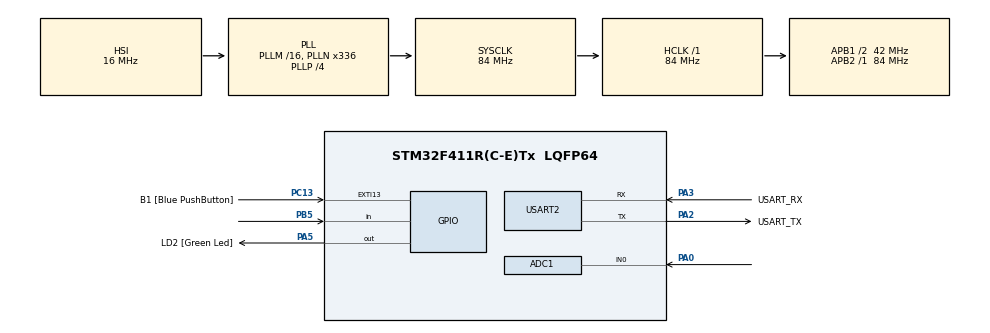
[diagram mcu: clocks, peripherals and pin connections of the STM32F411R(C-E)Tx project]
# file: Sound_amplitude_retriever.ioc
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ADC1.Channel-1\#ChannelRegularConversion=ADC_CHANNEL_0
ADC1.NbrOfConversionFlag=1
ADC1.Rank-1\#ChannelRegularConversion=1
ADC1.SamplingTime-1\#ChannelRegularConversion=ADC_SAMPLETIME_3CYCLES
ADC1.master=1
Mcu.Family=STM32F4
Mcu.Name=STM32F411R(C-E)Tx
Mcu.Package=LQFP64
NVIC.PriorityGroup=NVIC_PRIORITYGROUP_0
PA0-WKUP.Signal=ADCx_IN0
PA13.GPIO_Label=TMS
PA13.Mode=Serial_Wire
PA13.Signal=SYS_JTMS-SWDIO
PA14.GPIO_Label=TCK
PA14.Mode=Serial_Wire
PA14.Signal=SYS_JTCK-SWCLK
PA2.GPIO_Label=USART_TX
PA2.Mode=Asynchronous
PA2.Signal=USART2_TX
PA3.GPIO_Label=USART_RX
PA3.Mode=Asynchronous
PA3.Signal=USART2_RX
PA5.GPIO_Label=LD2 [Green Led]
PA5.Signal=GPIO_Output
PB3.GPIO_Label=SWO
PB3.Signal=SYS_JTDO-SWO
PB5.Signal=GPIO_Input
PC13-ANTI_TAMP.GPIO_Label=B1 [Blue PushButton]
PC13-ANTI_TAMP.GPIO_ModeDefaultEXTI=GPIO_MODE_IT_FALLING
PC13-ANTI_TAMP.Signal=GPXTI13
PC14-OSC32_IN.Mode=LSE-External-Oscillator
PC14-OSC32_IN.Signal=RCC_OSC32_IN
PC15-OSC32_OUT.Mode=LSE-External-Oscillator
PC15-OSC32_OUT.Signal=RCC_OSC32_OUT
PH0\ -\ OSC_IN.Mode=HSE-External-Clock-Source
PH0\ -\ OSC_IN.Signal=RCC_OSC_IN
PH1\ -\ OSC_OUT.Mode=HSE-External-Clock-Source
PH1\ -\ OSC_OUT.Signal=RCC_OSC_OUT
ProjectManager.HeapSize=0x200
ProjectManager.StackSize=0x400
ProjectManager.TargetToolchain=STM32CubeIDE
RCC.48MHZClocksFreq_Value=84000000
RCC.AHBFreq_Value=84000000
RCC.APB1CLKDivider=RCC_HCLK_DIV2
RCC.APB1Freq_Value=42000000
RCC.APB1TimFreq_Value=84000000
RCC.APB2Freq_Value=84000000
RCC.APB2TimFreq_Value=84000000
RCC.CortexFreq_Value=84000000
RCC.FLatency-AdvancedSettings=FLASH_LATENCY_2
RCC.HCLKFreq_Value=84000000
RCC.HSE_VALUE=8000000
RCC.HSI_VALUE=16000000
RCC.PLLN=336
RCC.PLLP=RCC_PLLP_DIV4
RCC.SYSCLKFreq_VALUE=84000000
RCC.SYSCLKSource=RCC_SYSCLKSOURCE_PLLCLK
RCC.VCOOutputFreq_Value=336000000
SH.ADCx_IN0.0=ADC1_IN0,IN0
USART2.VirtualMode=VM_ASYNC
board=NUCLEO-F411RE

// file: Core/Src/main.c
/* USER CODE BEGIN Header */
/**
  ******************************************************************************
  * @file           : main.c
  * @brief          : Main program body
  ******************************************************************************
  * @attention
  *
  * Copyright (c) 2025 STMicroelectronics.
  * All rights reserved.
  *
  * This software is licensed under terms that can be found in the LICENSE file
  * in the root directory of this software component.
  * If no LICENSE file comes with this software, it is provided AS-IS.
  *
  ******************************************************************************
  */
/* USER CODE END Header */
#include "main.h"

ADC_HandleTypeDef hadc1;

UART_HandleTypeDef huart2;

void SystemClock_Config(void);
static void MX_GPIO_Init(void);
static void MX_USART2_UART_Init(void);
static void MX_ADC1_Init(void);

int main(void)
{

  /* MCU Configuration--------------------------------------------------------*/

  /* Reset of all peripherals, Initializes the Flash interface and the Systick. */
  HAL_Init();

  /* Configure the system clock */
  SystemClock_Config();

  /* Initialize all configured peripherals */
  MX_GPIO_Init();
  MX_USART2_UART_Init();
  MX_ADC1_Init();
  /* USER CODE BEGIN 2 */
  char uart_buf[50];
  uint32_t AMP_THRESHOLD = 80;
  uint32_t SAMP_WIDTH = 50;
  /* USER CODE END 2 */

  /* Infinite loop */
  while (1)
  {

    /* USER CODE BEGIN 3 */
	  uint32_t signal_max = 0;
	  uint32_t signal_min = 4095;
	  uint32_t sample = 0;
	  uint32_t start_time = HAL_GetTick();

	  //sampling for SAMP_WIDTH
	  while ((HAL_GetTick() - start_time) < SAMP_WIDTH)
	  {
	      HAL_ADC_Start(&hadc1);
	      if (HAL_ADC_PollForConversion(&hadc1, 1) == HAL_OK)
	      {
	          sample = HAL_ADC_GetValue(&hadc1);
	          HAL_ADC_Stop(&hadc1);

	          if (sample > signal_max) signal_max = sample;
	          if (sample < signal_min) signal_min = sample;
	      }
	  }

	  uint32_t amplitude = signal_max - signal_min;

	  //print if the amplitude is over 80
	  if (amplitude > AMP_THRESHOLD)
	  {
	      sprintf(uart_buf, "Loudness: %lu | Max: %lu | Min: %lu\r\n", amplitude, signal_max, signal_min);
	      HAL_UART_Transmit(&huart2, (uint8_t*)uart_buf, strlen(uart_buf), 100);
	  }

	  // Short rest before next measurement
	  HAL_Delay(10);
  }
  /* USER CODE END 3 */
}

void SystemClock_Config(void)
{
  RCC_OscInitTypeDef RCC_OscInitStruct = {0};
  RCC_ClkInitTypeDef RCC_ClkInitStruct = {0};

  /** Configure the main internal regulator output voltage
  */
  __HAL_RCC_PWR_CLK_ENABLE();
  __HAL_PWR_VOLTAGESCALING_CONFIG(PWR_REGULATOR_VOLTAGE_SCALE1);

  /** Initializes the RCC Oscillators according to the specified parameters
  * in the RCC_OscInitTypeDef structure.
  */
  RCC_OscInitStruct.OscillatorType = RCC_OSCILLATORTYPE_HSI;
  RCC_OscInitStruct.HSIState = RCC_HSI_ON;
  RCC_OscInitStruct.HSICalibrationValue = RCC_HSICALIBRATION_DEFAULT;
  RCC_OscInitStruct.PLL.PLLState = RCC_PLL_ON;
  RCC_OscInitStruct.PLL.PLLSource = RCC_PLLSOURCE_HSI;
  RCC_OscInitStruct.PLL.PLLM = 16;
  RCC_OscInitStruct.PLL.PLLN = 336;
  RCC_OscInitStruct.PLL.PLLP = RCC_PLLP_DIV4;
  RCC_OscInitStruct.PLL.PLLQ = 4;
  if (HAL_RCC_OscConfig(&RCC_OscInitStruct) != HAL_OK)
  {
    Error_Handler();
  }

  /** Initializes the CPU, AHB and APB buses clocks
  */
  RCC_ClkInitStruct.ClockType = RCC_CLOCKTYPE_HCLK|RCC_CLOCKTYPE_SYSCLK
                              |RCC_CLOCKTYPE_PCLK1|RCC_CLOCKTYPE_PCLK2;
  RCC_ClkInitStruct.SYSCLKSource = RCC_SYSCLKSOURCE_PLLCLK;
  RCC_ClkInitStruct.AHBCLKDivider = RCC_SYSCLK_DIV1;
  RCC_ClkInitStruct.APB1CLKDivider = RCC_HCLK_DIV2;
  RCC_ClkInitStruct.APB2CLKDivider = RCC_HCLK_DIV1;

  if (HAL_RCC_ClockConfig(&RCC_ClkInitStruct, FLASH_LATENCY_2) != HAL_OK)
  {
    Error_Handler();
  }
}

static void MX_ADC1_Init(void)
{

  ADC_ChannelConfTypeDef sConfig = {0};

  /** Configure the global features of the ADC (Clock, Resolution, Data Alignment and number of conversion)
  */
  hadc1.Instance = ADC1;
  hadc1.Init.ClockPrescaler = ADC_CLOCK_SYNC_PCLK_DIV4;
  hadc1.Init.Resolution = ADC_RESOLUTION_12B;
  hadc1.Init.ScanConvMode = DISABLE;
  hadc1.Init.ContinuousConvMode = DISABLE;
  hadc1.Init.DiscontinuousConvMode = DISABLE;
  hadc1.Init.ExternalTrigConvEdge = ADC_EXTERNALTRIGCONVEDGE_NONE;
  hadc1.Init.ExternalTrigConv = ADC_SOFTWARE_START;
  hadc1.Init.DataAlign = ADC_DATAALIGN_RIGHT;
  hadc1.Init.NbrOfConversion = 1;
  hadc1.Init.DMAContinuousRequests = DISABLE;
  hadc1.Init.EOCSelection = ADC_EOC_SINGLE_CONV;
  if (HAL_ADC_Init(&hadc1) != HAL_OK)
  {
    Error_Handler();
  }

  /** Configure for the selected ADC regular channel its corresponding rank in the sequencer and its sample time.
  */
  sConfig.Channel = ADC_CHANNEL_0;
  sConfig.Rank = 1;
  sConfig.SamplingTime = ADC_SAMPLETIME_3CYCLES;
  if (HAL_ADC_ConfigChannel(&hadc1, &sConfig) != HAL_OK)
  {
    Error_Handler();
  }

}

static void MX_USART2_UART_Init(void)
{

  huart2.Instance = USART2;
  huart2.Init.BaudRate = 115200;
  huart2.Init.WordLength = UART_WORDLENGTH_8B;
  huart2.Init.StopBits = UART_STOPBITS_1;
  huart2.Init.Parity = UART_PARITY_NONE;
  huart2.Init.Mode = UART_MODE_TX_RX;
  huart2.Init.HwFlowCtl = UART_HWCONTROL_NONE;
  huart2.Init.OverSampling = UART_OVERSAMPLING_16;
  if (HAL_UART_Init(&huart2) != HAL_OK)
  {
    Error_Handler();
  }

}

static void MX_GPIO_Init(void)
{
  GPIO_InitTypeDef GPIO_InitStruct = {0};

  /* GPIO Ports Clock Enable */
  __HAL_RCC_GPIOC_CLK_ENABLE();
  __HAL_RCC_GPIOH_CLK_ENABLE();
  __HAL_RCC_GPIOA_CLK_ENABLE();
  __HAL_RCC_GPIOB_CLK_ENABLE();

  /*Configure GPIO pin Output Level */
  HAL_GPIO_WritePin(LD2_GPIO_Port, LD2_Pin, GPIO_PIN_RESET);

  /*Configure GPIO pin : B1_Pin */
  GPIO_InitStruct.Pin = B1_Pin;
  GPIO_InitStruct.Mode = GPIO_MODE_IT_FALLING;
  GPIO_InitStruct.Pull = GPIO_NOPULL;
  HAL_GPIO_Init(B1_GPIO_Port, &GPIO_InitStruct);

  /*Configure GPIO pin : LD2_Pin */
  GPIO_InitStruct.Pin = LD2_Pin;
  GPIO_InitStruct.Mode = GPIO_MODE_OUTPUT_PP;
  GPIO_InitStruct.Pull = GPIO_NOPULL;
  GPIO_InitStruct.Speed = GPIO_SPEED_FREQ_LOW;
  HAL_GPIO_Init(LD2_GPIO_Port, &GPIO_InitStruct);

  /*Configure GPIO pin : PB5 */
  GPIO_InitStruct.Pin = GPIO_PIN_5;
  GPIO_InitStruct.Mode = GPIO_MODE_INPUT;
  GPIO_InitStruct.Pull = GPIO_NOPULL;
  HAL_GPIO_Init(GPIOB, &GPIO_InitStruct);

}

void Error_Handler(void)
{
  __disable_irq();
  while (1)
  {
  }
}
